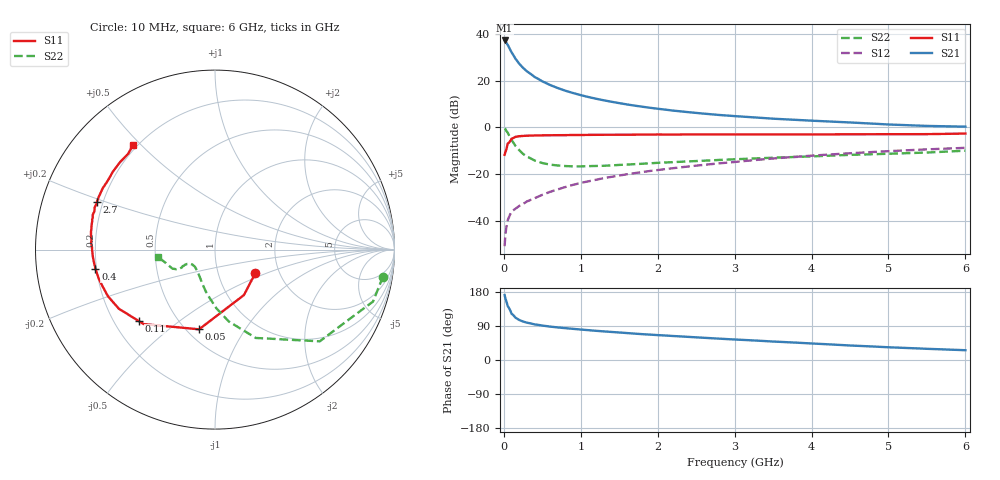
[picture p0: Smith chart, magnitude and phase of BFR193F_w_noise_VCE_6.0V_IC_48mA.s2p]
! (c) 2017  Infineon Technologies AG, Munich
! Infineon Technologies  Discrete & RF Semiconductors
! BFR193F
! VCE =  6.0 V,  IC =  48 mA
! Common Emitter S-Parameters:  Jan 2017
# GHz  S  MA  R  50
!  f  S11  S21  S12  S22
! GHz  MAG  ANG  MAG  ANG  MAG  ANG  MAG  ANG
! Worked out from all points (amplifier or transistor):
!   77 points, 10 MHz to 6 GHz, reference 50 ohm
!   highest |S21| = 37.2 dB at 10 MHz (marker M1)
!   |S21| within 3 dB of that: start of sweep to 68.18 MHz
!   unconditionally stable (mu >= 1): 952.7 MHz to 2.489 GHz
!   at 130 MHz: K = 0.47, MSG = 32.9 dB, |S12| = -35.2 dB
!   at 2.2 GHz: K = 1.02, MAG = 11.5 dB, |S12| = -17.4 dB
!   at 6 GHz: K = 0.86, MSG = 4.5 dB, |S12| = -8.7 dB
!   lowest NFmin = 1.45 dB at 450 MHz
!   S11 on the Smith chart (normalised r, x): 10 MHz: 1.50, -0.43; 50 MHz: 0.57, -0.64; 110 MHz: 0.30, -0.36; 400 MHz: 0.20, -0.08; 2.7 GHz: 0.18, +0.19; 6 GHz: 0.18, +0.47
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0.01  0.2602 -30.6  72.55 171.4  0.0029 85.2  0.9483 -9.1
0.02  0.3002 -57.5  70.27 162.7  0.0051 76.6  0.9267 -18.2
0.05  0.4529 -101.3  58.58 142.4  0.0103 64.1  0.7759 -41.2
0.1  0.5748 -133.8  40.54 122.2  0.0158 53.7  0.5424 -65.2
0.11  0.5824 -136.9  38.3 120.6  0.0163 53.0  0.5131 -67.4
0.15  0.6288 -148.4  29.72 111.9  0.0183 50.4  0.4062 -79.3
0.2  0.6505 -156.4  23.13 105.6  0.021 53.1  0.3275 -88.6
0.25  0.6598 -162.3  18.81 101.5  0.0232 54.1  0.2723 -96.1
0.3  0.6674 -165.8  15.87 98.5  0.0262 58.0  0.2401 -102.2
0.4  0.6746 -170.9  12.03 93.9  0.0307 61.6  0.1969 -111.9
0.5  0.6789 -174.4  9.695 90.9  0.0363 64.7  0.1737 -119.4
0.6  0.6819 -177.1  8.116 88.2  0.042 66.7  0.1606 -126.0
0.7  0.6847 -179.7  6.977 85.9  0.0474 68.6  0.1541 -130.8
0.9  0.6915 176.9  5.452 82.2  0.0593 70.7  0.1476 -138.7
1.1  0.6947 174.1  4.477 78.7  0.0706 72.3  0.1493 -143.6
1.5  0.7002 169.3  3.317 72.6  0.0939 73.3  0.1584 -149.9
2.1  0.7068 163.3  2.405 64.6  0.1289 73.2  0.1786 -152.9
2.7  0.7092 158.2  1.914 57.5  0.1649 72.1  0.1985 -152.8
3.1  0.711 154.8  1.708 53.1  0.1897 71.3  0.2123 -151.7
4.1  0.7109 146.1  1.374 42.6  0.2558 67.3  0.2445 -153.5
5.1  0.719 136.4  1.143 32.8  0.3174 61.7  0.2776 -162.7
6  0.7416 128.0  1.042 25.8  0.3671 56.5  0.3191 -172.4
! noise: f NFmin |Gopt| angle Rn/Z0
0.45  1.45  0.46  -180  0.07
0.9  1.54  0.47  -179  0.07
1.9  2.11  0.6  -164  0.09
2.4  2.42  0.62  -156  0.14
